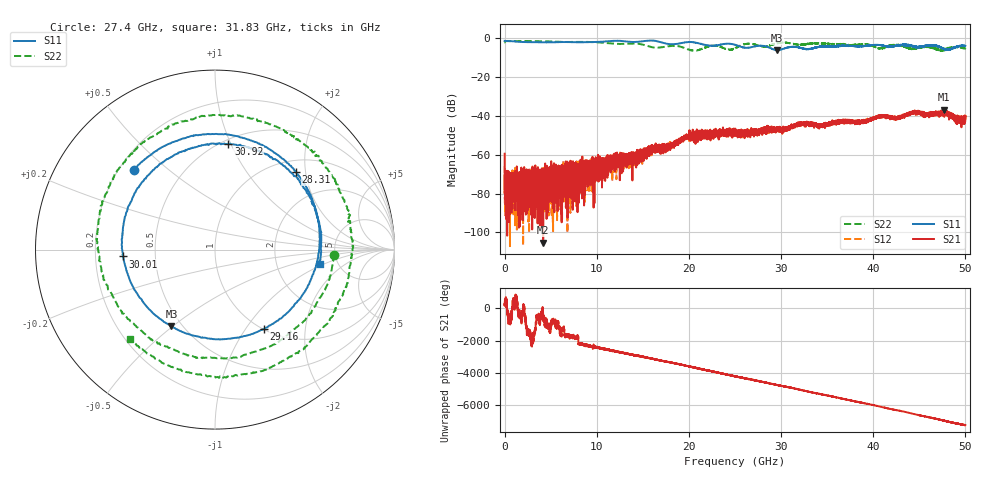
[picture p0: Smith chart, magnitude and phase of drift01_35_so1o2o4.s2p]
!Created with skrf (http://scikit-rf.org).
# Hz S RI R 50.0
!freq ReS11 ImS11 ReS21 ImS21 ReS12 ImS12 ReS22 ImS22
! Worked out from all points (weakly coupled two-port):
!   10001 points, 300 kHz to 50 GHz, reference 50 ohm
!   highest |S21| = -36.72 dB at 47.65 GHz (marker M1); lowest = -105.3 dB at 4.185 GHz (marker M2)
!   lowest |S11| = -6.2 dB at 29.6 GHz (marker M3), VSWR 2.93, Z = 22 - j24.7 ohm
!   |S11| at or under -10 dB: nowhere
!   |S22| runs from -6.4 to -1.4 dB; largest |S21 - S12| = 0.0044
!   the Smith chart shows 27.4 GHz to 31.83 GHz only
!   S11 on the Smith chart (normalised r, x): 27.4 GHz: 0.26, +0.39; 28.31 GHz: 1.26, +1.77; 29.16 GHz: 1.01, -1.22; 30.01 GHz: 0.32, -0.03; 30.92 GHz: 0.54, +0.98; 31.83 GHz: 3.64, -0.89
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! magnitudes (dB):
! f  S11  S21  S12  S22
! 300 kHz  -1.3  -59.4  -65.8  -2.1
! 300.3 MHz  -1.4  -72.9  -75.9  -1.4
! 4.185 GHz  -2.1  -105.3  -77.6  -1.5
! 6.12 GHz  -1.9  -72.7  -68.2  -1.8
! 8.335 GHz  -2.0  -68.0  -66.5  -1.8
! 16.67 GHz  -1.6  -55.9  -55.6  -4.8
! 18.62 GHz  -2.9  -54.1  -54.3  -3.9
! 20.43 GHz  -2.0  -50.8  -48.8  -6.3
! 22.61 GHz  -3.8  -49.8  -50.4  -3.8
! 25 GHz  -3.3  -48.7  -47.7  -5.1
! 27.4 GHz  -4.0  -49.3  -47.7  -3.5
! 28.31 GHz  -4.1  -47.3  -46.8  -4.3
! 29.16 GHz  -5.7  -46.8  -47.1  -3.1
! 29.6 GHz  -6.2  -46.4  -46.9  -2.5
! 30.01 GHz  -5.8  -47.6  -47.5  -2.3
! 30.92 GHz  -4.5  -45.7  -46.4  -2.5
! 31.83 GHz  -4.6  -44.2  -43.9  -3.3
! 33.34 GHz  -5.2  -44.3  -44.7  -2.6
! 41.67 GHz  -4.3  -40.8  -40.6  -4.6
! 47.65 GHz  -5.6  -36.7  -38.5  -6.2
! 49.19 GHz  -4.1  -41.2  -41.1  -4.4
! 50 GHz  -3.9  -40.1  -42.1  -5.4
